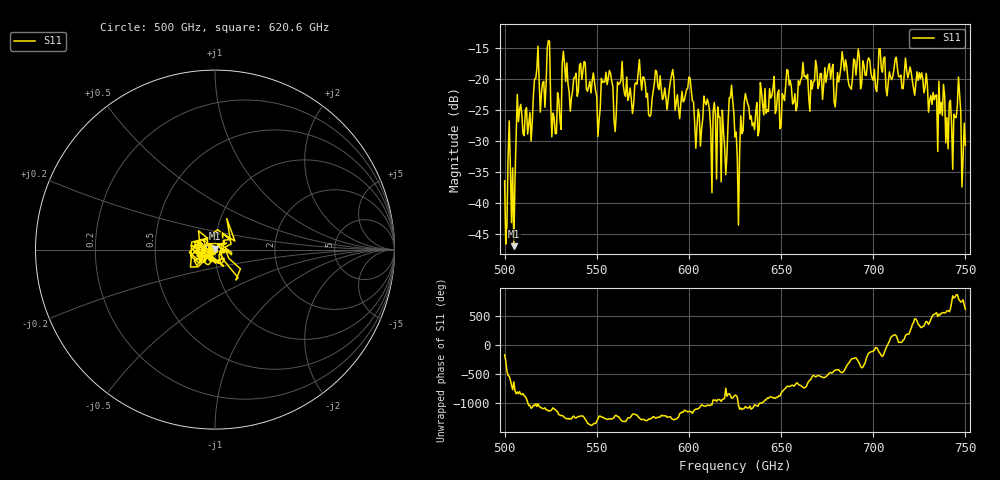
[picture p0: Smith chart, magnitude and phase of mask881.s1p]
!Created with skrf (http://scikit-rf.org).
# GHz S MA R 50.0
!freq magS11 angS11
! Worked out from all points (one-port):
!   401 points, 500 GHz to 750 GHz, reference 50 ohm
!   lowest |S11| = -46.9 dB at 505 GHz (marker M1), VSWR 1.01, Z = 50 + j0.448 ohm
!   |S11| at or under -10 dB: start of sweep to end of sweep
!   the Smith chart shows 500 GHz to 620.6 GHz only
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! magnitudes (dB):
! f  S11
! 500 GHz  -36.4
! 503.1 GHz  -34.1
! 505 GHz  -46.9
! 507.5 GHz  -26.9
! 513.8 GHz  -25.4
! 517.5 GHz  -18.4
! 520.6 GHz  -20.6
! 523.8 GHz  -13.7
! 526.9 GHz  -26.2
! 531.2 GHz  -17.5
! 542.5 GHz  -18.7
! 550.6 GHz  -29.3
! 562.5 GHz  -20.7
! 593.8 GHz  -22.5
! 600 GHz  -19.6
! 605 GHz  -24.8
! 609.4 GHz  -24.1
! 618.8 GHz  -28.4
! 623.1 GHz  -21.0
! 625 GHz  -29.3
! 626.2 GHz  -32.7
! 631.2 GHz  -23.2
! 656.2 GHz  -24.0
! 687.5 GHz  -21.3
! 718.8 GHz  -19.8
! 741.9 GHz  -23.4
! 746.2 GHz  -19.6
! 750 GHz  -30.7
